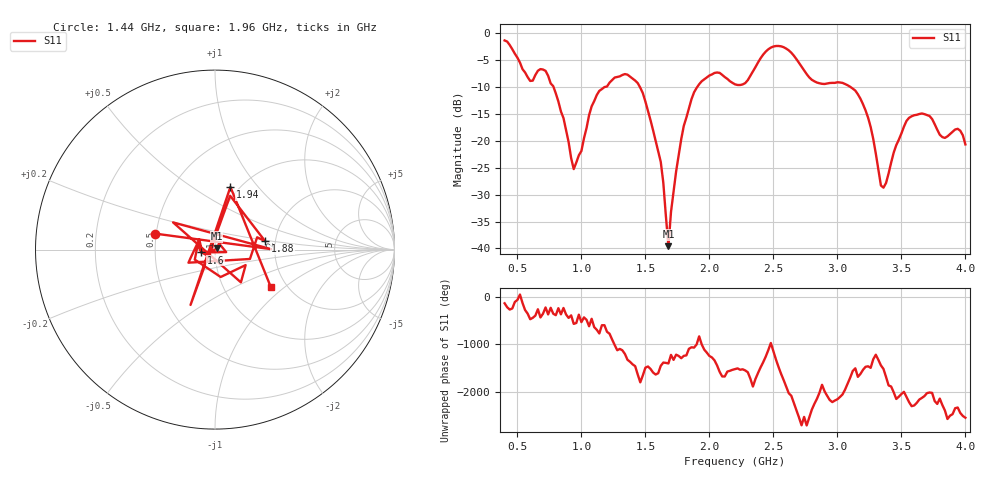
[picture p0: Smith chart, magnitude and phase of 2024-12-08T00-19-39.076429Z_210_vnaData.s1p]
!Created with skrf (http://scikit-rf.org).
# Hz S RI R 50.0
!freq ReS11 ImS11
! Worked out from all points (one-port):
!   181 points, 400 MHz to 4 GHz, reference 50 ohm
!   lowest |S11| = -39.6 dB at 1.68 GHz (marker M1), VSWR 1.02, Z = 50.8 + j0.643 ohm
!   |S11| at or under -10 dB: 782.8 MHz to 1.178 GHz (395.6 MHz wide, 40.3 % of centre); 1.458 GHz to 1.904 GHz (445.8 MHz wide, 26.5 % of centre); 3.105 GHz to end of sweep
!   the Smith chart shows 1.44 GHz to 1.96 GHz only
!   S11 on the Smith chart (normalised r, x): 1.44 GHz: 0.49, +0.10; 1.6 GHz: 0.86, -0.03; 1.88 GHz: 1.76, +0.18; 1.94 GHz: 0.91, +0.73; 1.96 GHz: 1.66, -0.81
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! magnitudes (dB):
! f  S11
! 400 MHz  -1.3
! 600 MHz  -8.8
! 720 MHz  -6.9
! 860 MHz  -15.7
! 940 MHz  -25.2
! 1.12 GHz  -11.5
! 1.3 GHz  -8.0
! 1.44 GHz  -9.2
! 1.6 GHz  -22.1
! 1.64 GHz  -27.8
! 1.68 GHz  -39.6
! 1.7 GHz  -33.2
! 1.76 GHz  -22.7
! 1.88 GHz  -11.0
! 1.94 GHz  -8.9
! 1.96 GHz  -8.5
! 2.2 GHz  -9.5
! 2.48 GHz  -2.6
! 2.66 GHz  -4.1
! 2.82 GHz  -8.9
! 3.1 GHz  -9.9
! 3.24 GHz  -15.7
! 3.36 GHz  -28.7
! 3.56 GHz  -15.7
! 3.72 GHz  -15.4
! 3.84 GHz  -19.4
! 3.94 GHz  -17.7
! 4 GHz  -20.6
